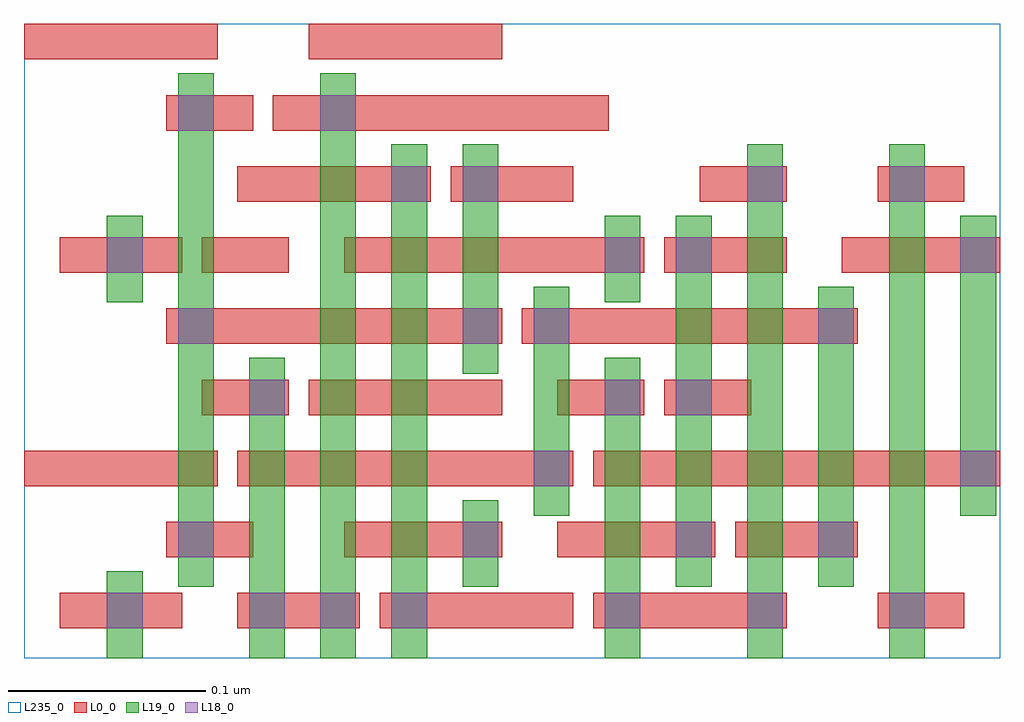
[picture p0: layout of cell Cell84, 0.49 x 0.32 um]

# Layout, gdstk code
import gdstk
lib = gdstk.Library(unit=1e-6, precision=2.5e-10)
def R(c, l, rs):  # rectangles x0, y0, x1, y1
    for r in rs: c.add(gdstk.rectangle(r[:2], r[2:], *l))
def A(c, l, x, y, w, h, nx, ny, dx, dy):  # array of equal rectangles
    R(c, l, [(x+i*dx, y+j*dy, x+i*dx+w, y+j*dy+h) for i in range(nx) for j in range(ny)])
L0_0 = (0, 0)
L18_0 = (18, 0)
L19_0 = (19, 0)
L235_0 = (235, 0)

cell84 = lib.new_cell('Cell84')
R(cell84, L0_0, [(0.022,-0.001,0.084,0.017), (0.112,-0.001,0.174,0.017), (0.184,-0.001,0.282,0.017), (0.292,-0.001,0.39,0.017), (0.436,-0.001,0.48,0.017), (0.076,0.035,0.12,0.053), (0.166,0.035,0.246,0.053), (0.274,0.035,0.354,0.053), (0.364,0.035,0.426,0.053), (0.004,0.071,0.102,0.089), (0.112,0.071,0.282,0.089), (0.292,0.071,0.498,0.089), (0.094,0.107,0.138,0.125), (0.148,0.107,0.246,0.125), (0.274,0.107,0.318,0.125), (0.328,0.107,0.372,0.125), (0.076,0.143,0.246,0.161), (0.256,0.143,0.426,0.161), (0.022,0.179,0.084,0.197), (0.094,0.179,0.138,0.197), (0.166,0.179,0.318,0.197), (0.328,0.179,0.39,0.197), (0.418,0.179,0.498,0.197), (0.112,0.215,0.21,0.233), (0.22,0.215,0.282,0.233), (0.346,0.215,0.39,0.233), (0.436,0.215,0.48,0.233), (0.076,0.251,0.12,0.269), (0.13,0.251,0.3,0.269), (0.004,0.287,0.102,0.305), (0.148,0.287,0.246,0.305)])
A(cell84, L18_0, 0.118, -0.001, 0.018, 0.018, 3, 1, 0.036, 0)
A(cell84, L18_0, 0.298, -0.001, 0.018, 0.018, 3, 1, 0.072, 0)
A(cell84, L18_0, 0.082, 0.035, 0.018, 0.018, 1, 3, 0, 0.108)
A(cell84, L18_0, 0.334, 0.035, 0.018, 0.018, 1, 3, 0, 0.072)
R(cell84, L18_0, [(0.046,-0.001,0.064,0.017), (0.226,0.035,0.244,0.053), (0.406,0.035,0.424,0.053), (0.262,0.071,0.28,0.089), (0.478,0.071,0.496,0.089), (0.118,0.107,0.136,0.125), (0.298,0.107,0.316,0.125), (0.226,0.143,0.244,0.161), (0.262,0.143,0.28,0.161), (0.406,0.143,0.424,0.161), (0.046,0.179,0.064,0.197), (0.298,0.179,0.316,0.197), (0.478,0.179,0.496,0.197), (0.19,0.215,0.208,0.233), (0.226,0.215,0.244,0.233), (0.37,0.215,0.388,0.233), (0.442,0.215,0.46,0.233), (0.154,0.251,0.172,0.269)])
R(cell84, L19_0, [(0.046,-0.016,0.064,0.028), (0.118,-0.016,0.136,0.136), (0.154,-0.016,0.172,0.28), (0.19,-0.016,0.208,0.244), (0.298,-0.016,0.316,0.136), (0.37,-0.016,0.388,0.244), (0.442,-0.016,0.46,0.244), (0.082,0.02,0.1,0.28), (0.226,0.02,0.244,0.064), (0.334,0.02,0.352,0.208), (0.406,0.02,0.424,0.172), (0.262,0.056,0.28,0.172), (0.478,0.056,0.496,0.208), (0.226,0.128,0.244,0.244), (0.046,0.164,0.064,0.208), (0.298,0.164,0.316,0.208)])
R(cell84, L235_0, [(0.004,-0.016,0.498,0.305)])

lib.write_gds('Cell84.gds')
